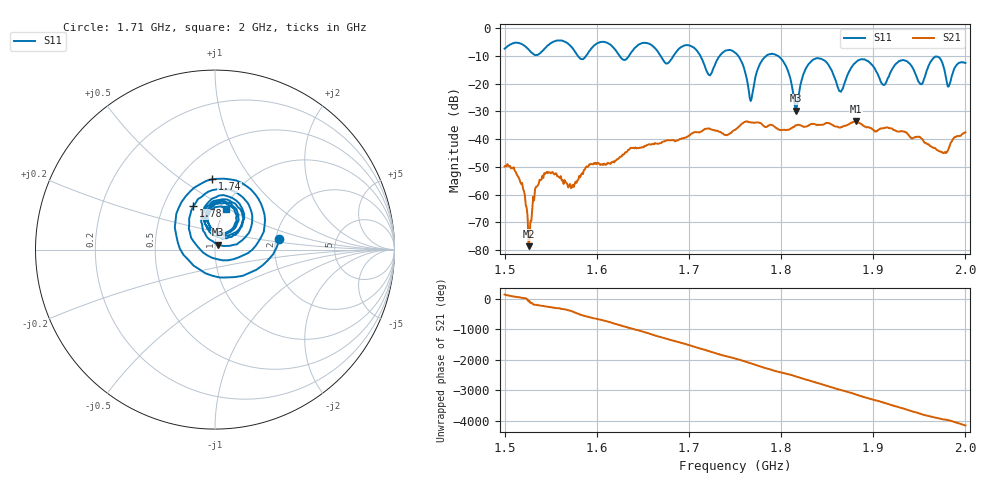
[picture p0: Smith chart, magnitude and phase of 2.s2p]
! NanoVNA-App by SYSJOINT et al v1.1.209 (+OD18)
! Date: 2026-01-21 14:24:07
! Start: 1,5GHz Stop: 2GHz Points: 501
! S-Parameter data: F S11 S21 S12 S22
# Hz S RI R 50
!  Frequency  S11_Real  S11_Imag  S21_Real  S21_Imag  S12_Real  S12_Imag  S22_Real  S22_Imag
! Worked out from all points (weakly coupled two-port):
!   501 points, 1.5 GHz to 2 GHz, reference 50 ohm
!   highest |S21| = -33.57 dB at 1.881 GHz (marker M1); lowest = -78.6 dB at 1.526 GHz (marker M2)
!   lowest |S11| = -29.8 dB at 1.816 GHz (marker M3), VSWR 1.07, Z = 51.6 + j2.9 ohm
!   |S11| at or under -10 dB: 1.712 GHz to 1.734 GHz (21.23 MHz wide, 1.23 % of centre); 1.753 GHz to 1.784 GHz (30.71 MHz wide, 1.74 % of centre); 1.796 GHz to end of sweep (the widest 3 of 6)
!   S12 and S22 are empty: the file has one direction only
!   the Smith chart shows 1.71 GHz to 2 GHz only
!   S11 on the Smith chart (normalised r, x): 1.71 GHz: 2.10, +0.27; 1.74 GHz: 0.72, +0.66; 1.78 GHz: 0.71, +0.37; 2 GHz: 1.02, +0.49
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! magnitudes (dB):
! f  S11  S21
! 1.5 GHz  -7.4  -49.9
! 1.517 GHz  -5.6  -55.5
! 1.526 GHz  -7.7  -78.6
! 1.543 GHz  -7.6  -52.3
! 1.584 GHz  -11.2  -52.3
! 1.606 GHz  -5.0  -49.1
! 1.667 GHz  -8.9  -41.7
! 1.71 GHz  -8.8  -37.5
! 1.723 GHz  -17.1  -36.3
! 1.74 GHz  -8.1  -38.5
! 1.75 GHz  -8.8  -36.7
! 1.767 GHz  -26.3  -34.0
! 1.78 GHz  -11.4  -34.9
! 1.801 GHz  -11.4  -36.8
! 1.816 GHz  -29.8  -35.0
! 1.834 GHz  -11.6  -34.6
! 1.864 GHz  -22.8  -35.9
! 1.881 GHz  -12.4  -33.6
! 1.917 GHz  -17.5  -36.1
! 1.977 GHz  -14.8  -45.0
! 1.982 GHz  -21.0  -43.2
! 2 GHz  -12.6  -37.6
